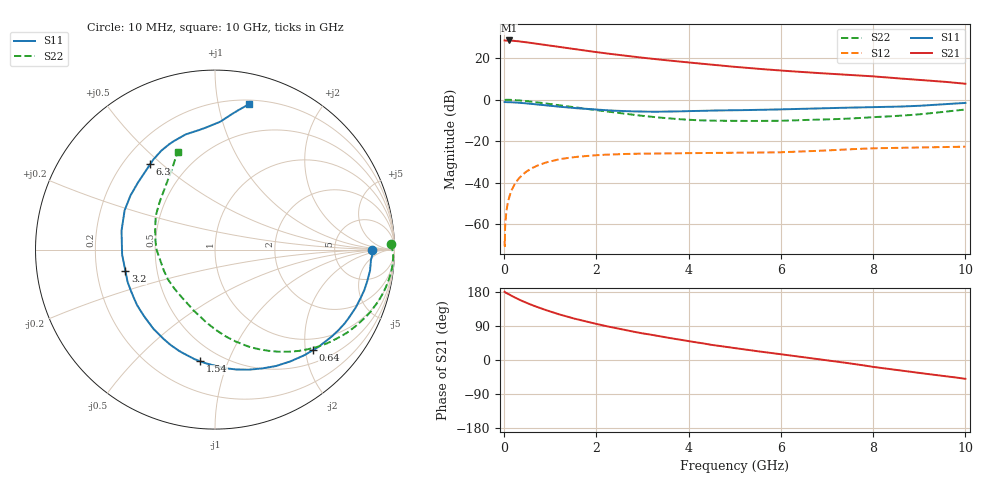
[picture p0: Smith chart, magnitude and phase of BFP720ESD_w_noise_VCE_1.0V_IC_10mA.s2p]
! (c) 2016  Infineon Technologies AG, Munich
! Infineon Technologies  Discrete & RF Semiconductors
! BFP720ESD
! VCE =  1.0 V,  IC =  10 mA
! Common Emitter S-Parameters:  Jan 2016
# GHz  S  MA  R  50
!  f  S11  S21  S12  S22
! GHz  MAG  ANG  MAG  ANG  MAG  ANG  MAG  ANG
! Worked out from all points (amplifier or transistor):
!   233 points, 10 MHz to 10 GHz, reference 50 ohm
!   highest |S21| = 28.5 dB at 100 MHz (marker M1)
!   |S21| within 3 dB of that: start of sweep to 1.161 GHz
!   unconditionally stable (mu >= 1): 5.068 GHz to 9.423 GHz
!   at 200 MHz: K = 0.08, MSG = 35.1 dB, |S12| = -41.8 dB
!   at 1.74 GHz: K = 0.40, MSG = 25.4 dB, |S12| = -27.2 dB
!   at 10 GHz: K = 0.81, MSG = 15.1 dB, |S12| = -22.6 dB
!   lowest NFmin = 0.67 dB at 450 MHz
!   S11 on the Smith chart (normalised r, x): 10 MHz: 15, -1; 640 MHz: 0.75, -2.15; 1.54 GHz: 0.39, -0.80; 3.2 GHz: 0.33, -0.11; 6.3 GHz: 0.31, +0.46; 10 GHz: 0.23, +1.24
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0.01  0.8757 -0.3  26.53 179.9  0.0004 -132.7  0.9826 1.8
0.1  0.8717 -7.7  26.55 173.6  0.0041 85.6  0.9932 -5.0
0.24  0.8554 -18.2  25.78 164.4  0.0096 79.0  0.9757 -12.1
0.36  0.8374 -26.8  24.96 157.5  0.0143 74.0  0.9526 -17.9
0.5  0.8114 -36.5  23.85 150.1  0.0192 68.4  0.92 -24.1
0.64  0.782 -45.8  22.71 143.3  0.0236 63.2  0.883 -29.9
0.8  0.7513 -56.0  21.44 136.1  0.0282 57.8  0.8405 -36.2
1.02  0.7087 -69.4  19.8 127.0  0.0333 50.9  0.7799 -44.3
1.28  0.6652 -84.2  17.98 117.3  0.0382 44.0  0.7123 -52.9
1.54  0.6278 -97.5  16.33 108.7  0.0417 38.1  0.6507 -60.5
1.68  0.6104 -104.3  15.55 104.2  0.0433 35.4  0.6211 -64.3
2  0.5773 -118.7  13.91 95.2  0.0462 30.0  0.5606 -72.3
2.38  0.5448 -135.1  12.32 85.0  0.0485 24.4  0.4948 -81.8
2.8  0.5233 -152.3  10.83 74.8  0.0499 19.5  0.432 -92.1
3.2  0.5132 -166.6  9.654 66.4  0.0506 16.1  0.3869 -101.3
3.4  0.5147 -173.5  9.142 62.0  0.0509 14.6  0.3687 -106.3
4  0.5312 168.6  7.866 49.6  0.0518 11.1  0.3288 -121.9
5.1  0.5601 145.7  6.026 29.7  0.0526 7.0  0.309 -149.6
6.3  0.5974 127.3  4.76 10.4  0.0559 5.9  0.3183 -175.6
6.8  0.6187 120.8  4.378 2.5  0.0588 5.1  0.3304 174.9
8.4  0.6731 97.1  3.351 -24.8  0.069 -3.9  0.3998 141.7
10  0.8347 76.7  2.415 -49.7  0.0741 -12.8  0.5801 111.1
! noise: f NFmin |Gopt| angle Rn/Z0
0.45  0.67  0.27  4  0.12
0.9  0.71  0.26  10  0.13
1.9  0.73  0.22  23  0.12
2.4  0.74  0.2  27  0.13
5.5  0.92  0.03  -166  0.1
10  1.37  0.51  -92  0.38
